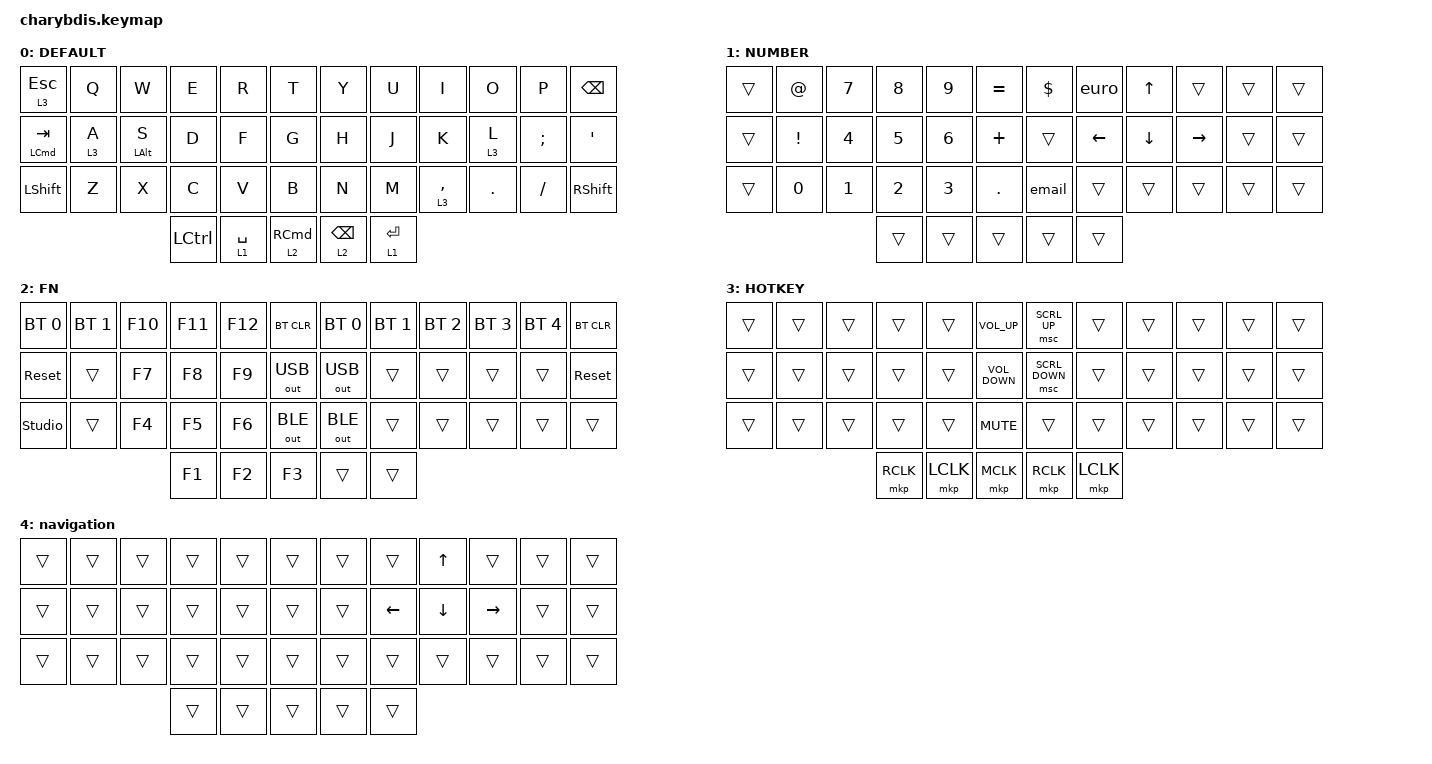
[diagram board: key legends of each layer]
#include <dt-bindings/zmk/mouse.h>
#include <input/processors.dtsi>
#include <dt-bindings/zmk/input_transform.h>
#include <behaviors.dtsi>
#include <dt-bindings/zmk/bt.h>
#include <dt-bindings/zmk/keys.h>
#include <dt-bindings/zmk/outputs.h>
#include <dt-bindings/zmk/pointing.h>

#define DEFAULT 0
#define NUMBER  1
#define FN  2
#define HOTKEY  3

/ {
    behaviors {
        rht: repeatHoldTap {
            compatible = "zmk,behavior-hold-tap";
            label = "REPEATHOLDTAP";
            bindings = <&mo>, <&kp>;

            #binding-cells = <2>;
            flavor = "tap-preferred";
            tapping-term-ms = <150>;
            quick-tap-ms = <200>;
        };

        hm: homerow_mod {
            compatible = "zmk,behavior-hold-tap";
            #binding-cells = <2>;
            flavor = "tap-preferred";
            tapping-term-ms = <175>; // triggers the hold behavior when the tapping-term-ms has expired
            quick-tap-ms = <150>; // If you press a tapped hold-tap again within quick-tap-ms milliseconds of the first press, it will always trigger the tap behavior.
            require-prior-idle-ms = <185>; // like quick-tap-ms however it will apply for any non-modifier key pressed before it
            bindings = <&kp>, <&kp>;

            // hold, tap
        };

        hm_right: homerow_mod_right {
            compatible = "zmk,behavior-hold-tap";
            #binding-cells = <2>;
            flavor = "tap-preferred";
            tapping-term-ms = <130>;

            // quick-tap-ms = <200>;
            // require-prior-idle-ms = <150>;

            bindings = <&kp>, <&kp>;

            hold-trigger-key-positions = <0 1 2 3 4 5 12 13 14 15 16 17 24 25 26 27 28 29 36 37 38>;
        };

        hm_left: homerow_mod_left {
            compatible = "zmk,behavior-hold-tap";
            #binding-cells = <2>;
            flavor = "tap-preferred";
            tapping-term-ms = <130>;

            // quick-tap-ms = <200>;
            // require-prior-idle-ms = <150>;

            bindings = <&kp>, <&kp>;

            hold-trigger-key-positions = <6 7 8 9 10 11 18 19 20 21 22 23 30 31 32 33 34 35 39 40>;
        };

        td_cursor: td_scroll_or_cursor {
            compatible = "zmk,behavior-tap-dance";
            #binding-cells = <0>;
            bindings = <&lt 9 ESC>, <&mo 8>;

            // hold, tap, double_tap
        };

        td_space: td_space {
            compatible = "zmk,behavior-tap-dance";
            #binding-cells = <0>;
            tapping-term-ms = <85>;
            bindings = <&lt 1 SPACE>, <&kp SPACE>;

            // hold, tap, double_tap
        };

        td_bs: td_bs {
            compatible = "zmk,behavior-tap-dance";
            #binding-cells = <0>;
            tapping-term-ms = <85>;
            bindings = <&lt 5 BACKSPACE>, <&kp BACKSPACE>;

            // hold, tap, double_tap
        };

        httl: ht_two_layers {
            compatible = "zmk,behavior-hold-tap";
            bindings = <&mo>, <&to>;

            #binding-cells = <2>;
            flavor = "balanced";
            tapping-term-ms = <125>;
        };

        td_layers: td_layer_swap {
            compatible = "zmk,behavior-tap-dance";
            #binding-cells = <0>;
            bindings = <&to 0>, <&to 5>, <&to 4>;

            // tap, double_tap, tripple_tap
        };

        td_clk_scrl: td_click_or_scroll {
            compatible = "zmk,behavior-tap-dance";
            #binding-cells = <0>;
            tapping-term-ms = <250>;
            bindings = <&mkp RCLK>, <&mo 9>;

            // tap/hold, double_tap
        };

        td_bore: BASE_or_EXTRA {
            compatible = "zmk,behavior-tap-dance";
            #binding-cells = <0>;
            bindings = <&mo 6>, <&to 0>;
        };

    };

    combos {
        compatible = "zmk,combos";

        minus {
            timeout-ms = <50>;
            key-positions = <37 40>; // KP: VB
            bindings = <&kp MINUS>;
            layers = <1 2 2 3 0 4>;
        };

        parentR {
            timeout-ms = <50>;
            key-positions = <9 8>;
            bindings = <&kp RPAR>;
            layers = <0 1 4 3 2>;
        };

        lClick-l {
            bindings = <&mkp LCLK>;
            key-positions = <16 37>;
        };

        rClick-l {
            bindings = <&mkp RCLK>;
            key-positions = <15 16 37>;
        };

        parentL {
            bindings = <&kp LEFT_PARENTHESIS>;
            key-positions = <7 8>;
        };
    };

    macros {
        euro: euro {
            compatible = "zmk,behavior-macro";
            #binding-cells = <0>;
            bindings = <&kp LA(NUMBER_0) &kp LA(NUMBER_1) &kp LA(NUMBER_2) &kp LA(N8)>;
            label = "EURO";
        };

        email: email {
            compatible = "zmk,behavior-macro";
            #binding-cells = <0>;
            bindings = <&kp S &kp U &kp R &kp I &kp A &kp R &kp I &kp B &kp E &kp I &kp R &kp O &kp AT &kp G &kp M &kp A &kp I &kp L &kp DOT &kp C &kp O &kp M>;
            label = "EMAIL";
        };
    };

    keymap {
        compatible = "zmk,keymap";

        default_layer {
            label = "DEFAULT";
            bindings = <
&lt 3 ESC          &kp Q    &kp W                &kp E             &kp R         &kp T                  &kp Y            &kp U        &kp I              &kp O       &kp P          &kp BACKSPACE
&hm_left LCMD TAB  &lt 3 A  &hm_left LEFT_ALT S  &kp D             &kp F         &kp G                  &kp H            &kp J        &kp K              &lt 3 L     &kp SEMICOLON  &kp SQT
&kp LSHFT          &kp Z    &kp X                &kp C             &kp V         &kp B                  &kp N            &kp M        &lt 3 COMMA        &kp PERIOD  &kp SLASH      &kp RSHFT
                                                 &kp LCTRL         &lt 1 SPACE  &lt 2 RIGHT_COMMAND    &lt 2 BACKSPACE  &lt 1 ENTER
            >;
        };

        number_layer {
            label = "NUMBER";
            bindings = <
&trans  &kp AT           &kp N7  &kp N8  &kp N9  &kp EQUAL    &kp DOLLAR  &euro           &kp UP_ARROW    &trans           &trans  &trans
&trans  &kp EXCLAMATION  &kp N4  &kp N5  &kp N6  &kp PLUS     &trans      &kp LEFT_ARROW  &kp DOWN_ARROW  &kp RIGHT_ARROW  &trans  &trans
&trans  &kp N0           &kp N1  &kp N2  &kp N3  &kp DOT      &email      &trans          &trans          &trans           &trans  &trans
                                 &trans  &trans  &trans       &trans      &trans
            >;
        };

        fn_layer {
            label = "FN";
            bindings = <
&bt BT_SEL 0    &bt BT_SEL 1  &kp F10  &kp F11  &kp F12  &bt BT_CLR      &bt BT_SEL 0  &bt BT_SEL 1  &bt BT_SEL 2  &bt BT_SEL 3  &bt BT_SEL 4  &bt BT_CLR
&sys_reset      &trans        &kp F7   &kp F8   &kp F9   &out OUT_USB    &out OUT_USB  &trans        &trans        &trans        &trans        &sys_reset
&studio_unlock  &trans        &kp F4   &kp F5   &kp F6   &out OUT_BLE    &out OUT_BLE  &trans        &trans        &trans        &trans        &trans
                                       &kp F1   &kp F2   &kp F3          &trans        &trans
            >;
        };

        mouse {
            label = "HOTKEY";
            bindings = <
&trans  &trans  &trans  &trans     &trans     &kp C_VOLUME_UP      &msc SCRL_UP    &trans     &trans  &trans  &trans  &trans
&trans  &trans  &trans  &trans     &trans     &kp C_VOLUME_DOWN    &msc SCRL_DOWN  &trans     &trans  &trans  &trans  &trans
&trans  &trans  &trans  &trans     &trans     &kp C_MUTE           &trans          &trans     &trans  &trans  &trans  &trans
                        &mkp RCLK  &mkp LCLK  &mkp MCLK            &mkp RCLK       &mkp LCLK
            >;
        };

        navigation {
            bindings = <
&trans  &trans  &trans  &trans  &trans  &trans    &trans  &trans          &kp UP_ARROW    &trans           &trans  &trans
&trans  &trans  &trans  &trans  &trans  &trans    &trans  &kp LEFT_ARROW  &kp DOWN_ARROW  &kp RIGHT_ARROW  &trans  &trans
&trans  &trans  &trans  &trans  &trans  &trans    &trans  &trans          &trans          &trans           &trans  &trans
                        &trans  &trans  &trans    &trans  &trans
            >;
        };
    };
};
